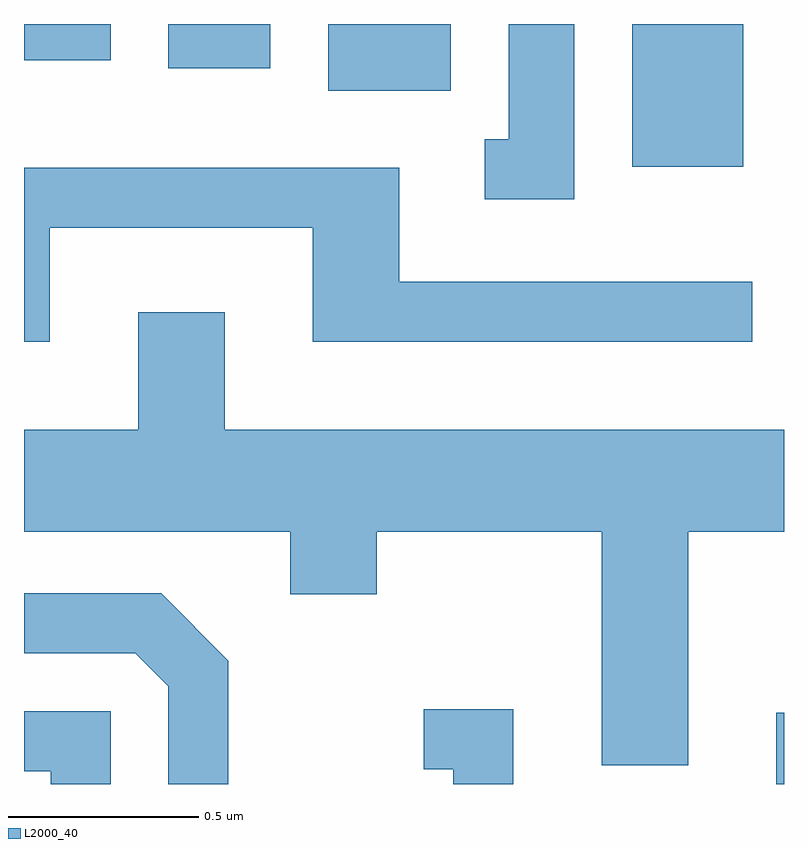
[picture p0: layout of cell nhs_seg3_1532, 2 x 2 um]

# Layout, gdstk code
import gdstk
lib = gdstk.Library(unit=1e-6, precision=1e-09)
def R(c, l, rs):  # rectangles x0, y0, x1, y1
    for r in rs: c.add(gdstk.rectangle(r[:2], r[2:], *l))
def P(c, l, *ps):  # polygons
    for p in ps: c.add(gdstk.Polygon(p, *l))
L2000_40 = (2000, 40)

nhs_seg3_1532 = lib.new_cell('nhs_seg3_1532')
R(nhs_seg3_1532, L2000_40, [(198.591,1140.892,198.611,1141.079), (198.211,1142.516,198.504,1142.892), (197.411,1142.716,197.734,1142.892), (196.991,1142.776,197.259,1142.892), (196.611,1142.796,196.839,1142.892)])
P(nhs_seg3_1532, L2000_40, [(198.059,1142.892),(197.886,1142.892),(197.886,1142.589),(197.823,1142.589),(197.823,1142.431),(198.059,1142.431)],
  [(196.679,1142.356),(197.371,1142.356),(197.371,1142.056),(198.528,1142.056),(198.528,1142.214),(197.599,1142.214),(197.599,1142.514),(196.611,1142.514),(196.611,1142.056),(196.679,1142.056)],
  [(198.359,1141.556),(198.611,1141.556),(198.611,1141.824),(197.139,1141.824),(197.139,1142.134),(196.911,1142.134),(196.911,1141.824),(196.611,1141.824),(196.611,1141.556),(197.311,1141.556),(197.311,1141.391),(197.539,1141.391),(197.539,1141.556),(198.131,1141.556),(198.131,1140.941),(198.359,1140.941)],
  [(197.149,1141.217),(196.972,1141.394),(196.611,1141.394),(196.611,1141.236),(196.904,1141.236),(196.991,1141.149),(196.991,1140.892),(197.149,1140.892)],
  [(197.899,1141.089),(197.663,1141.089),(197.663,1140.931),(197.741,1140.931),(197.741,1140.892),(197.899,1140.892)],
  [(196.839,1141.084),(196.611,1141.084),(196.611,1140.926),(196.681,1140.926),(196.681,1140.892),(196.839,1140.892)])

lib.write_gds('nhs_seg3_1532.gds')
